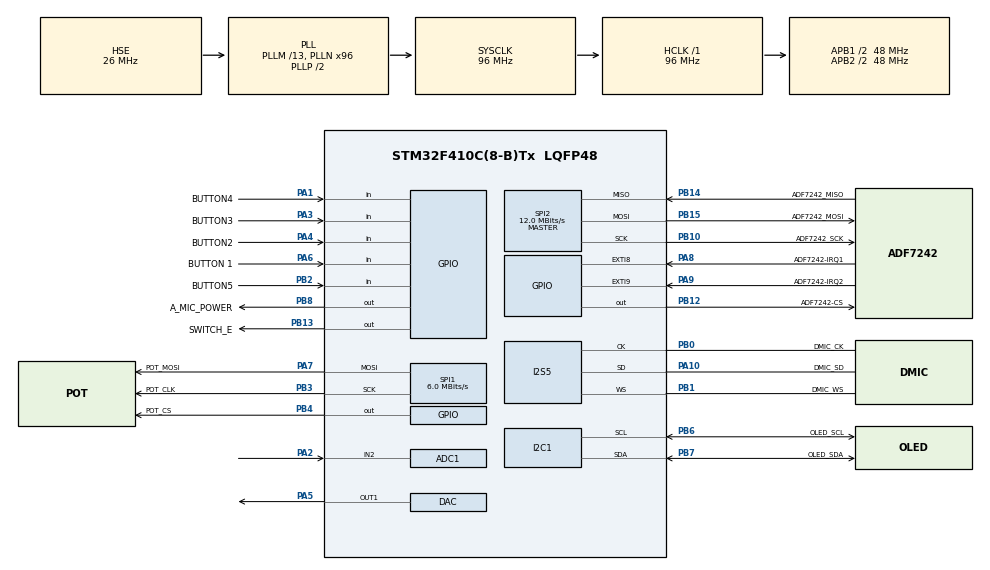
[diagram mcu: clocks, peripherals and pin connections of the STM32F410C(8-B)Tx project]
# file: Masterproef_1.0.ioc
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ADC1.Channel-0\#ChannelRegularConversion=ADC_CHANNEL_2
ADC1.ClockPrescaler=ADC_CLOCK_SYNC_PCLK_DIV2
ADC1.ExternalTrigConv=ADC_EXTERNALTRIGCONV_T5_CC1
ADC1.ExternalTrigConvEdge=ADC_EXTERNALTRIGCONVEDGE_RISING
ADC1.NbrOfConversion=1
ADC1.NbrOfConversionFlag=1
ADC1.Rank-0\#ChannelRegularConversion=1
ADC1.Resolution=ADC_RESOLUTION_8B
ADC1.SamplingTime-0\#ChannelRegularConversion=ADC_SAMPLETIME_3CYCLES
ADC1.master=1
I2S5.ErrorAudioFreq=0.0 %
I2S5.FullDuplexMode=I2S_FULLDUPLEXMODE_DISABLE
I2S5.Instance=SPI$Index
I2S5.RealAudioFreq=8.0 KHz
I2S5.VirtualMode=I2S_MODE_MASTER
Mcu.Family=STM32F4
Mcu.Name=STM32F410C(8-B)Tx
Mcu.Package=LQFP48
NVIC.ADC_IRQn=true\:0\:0\:false\:false\:true\:true\:true
NVIC.PriorityGroup=NVIC_PRIORITYGROUP_4
NVIC.TIM1_UP_IRQn=true\:0\:0\:false\:false\:true\:true\:true
NVIC.TIM5_IRQn=true\:0\:0\:false\:false\:true\:true\:true
PA0-WKUP.Mode=SYS_WakeUp0
PA0-WKUP.Signal=SYS_WKUP1
PA1.GPIO_Label=BUTTON4
PA1.Signal=GPIO_Input
PA10.GPIO_Label=DMIC_SD
PA10.Mode=Half_Duplex_Master
PA10.Signal=I2S5_SD
PA2.Signal=ADCx_IN2
PA3.GPIO_Label=BUTTON3
PA3.Signal=GPIO_Input
PA4.GPIO_Label=BUTTON2
PA4.Signal=GPIO_Input
PA5.Signal=COMP_DAC1_group
PA6.GPIO_Label=BUTTON 1
PA6.Signal=GPIO_Input
PA7.GPIO_Label=POT_MOSI
PA7.Mode=TX_Only_Simplex_Unidirect_Master
PA7.Signal=SPI1_MOSI
PA8.GPIO_Label=ADF7242-IRQ1
PA8.Signal=GPXTI8
PA9.GPIO_Label=ADF7242-IRQ2
PA9.Signal=GPXTI9
PB0.GPIO_Label=DMIC_CK
PB0.Mode=Half_Duplex_Master
PB0.Signal=I2S5_CK
PB1.GPIO_Label=DMIC_WS
PB1.Mode=Half_Duplex_Master
PB1.Signal=I2S5_WS
PB10.GPIO_Label=ADF7242_SCK
PB10.Mode=Full_Duplex_Master
PB10.Signal=SPI2_SCK
PB12.GPIO_Label=ADF7242-CS
PB12.Signal=GPIO_Output
PB13.GPIO_Label=SWITCH_E
PB13.PinState=GPIO_PIN_SET
PB13.Signal=GPIO_Output
PB14.GPIO_Label=ADF7242_MISO
PB14.Mode=Full_Duplex_Master
PB14.Signal=SPI2_MISO
PB15.GPIO_Label=ADF7242_MOSI
PB15.Mode=Full_Duplex_Master
PB15.Signal=SPI2_MOSI
PB2.GPIO_Label=BUTTON5
PB2.Signal=GPIO_Input
PB3.GPIO_Label=POT_CLK
PB3.Mode=TX_Only_Simplex_Unidirect_Master
PB3.Signal=SPI1_SCK
PB4.GPIO_Label=POT_CS
PB4.PinState=GPIO_PIN_SET
PB4.Signal=GPIO_Output
PB6.GPIO_Label=OLED_SCL
PB6.Mode=I2C
PB6.Signal=I2C1_SCL
PB7.GPIO_Label=OLED_SDA
PB7.Mode=I2C
PB7.Signal=I2C1_SDA
PB8.GPIO_Label=A_MIC_POWER
PB8.PinState=GPIO_PIN_SET
PB8.Signal=GPIO_Output
PC14-OSC32_IN.Mode=LSE-External-Oscillator
PC14-OSC32_IN.Signal=RCC_OSC32_IN
PC15-OSC32_OUT.Mode=LSE-External-Oscillator
PC15-OSC32_OUT.Signal=RCC_OSC32_OUT
PH0\ -\ OSC_IN.Mode=HSE-External-Oscillator
PH0\ -\ OSC_IN.Signal=RCC_OSC_IN
PH1\ -\ OSC_OUT.Mode=HSE-External-Oscillator
PH1\ -\ OSC_OUT.Signal=RCC_OSC_OUT
ProjectManager.HeapSize=0x200
ProjectManager.StackSize=0x400
ProjectManager.TargetToolchain=STM32CubeIDE
RCC.48MHZClocksFreq_Value=48000000
RCC.AHBFreq_Value=96000000
RCC.APB1CLKDivider=RCC_HCLK_DIV2
RCC.APB1Freq_Value=48000000
RCC.APB1TimFreq_Value=96000000
RCC.APB2CLKDivider=RCC_HCLK_DIV2
RCC.APB2Freq_Value=48000000
RCC.APB2TimFreq_Value=96000000
RCC.CortexFreq_Value=96000000
RCC.HCLKFreq_Value=96000000
RCC.HSE_VALUE=26000000
RCC.HSI_VALUE=16000000
RCC.PLLM=13
RCC.PLLN=96
RCC.PLLSourceVirtual=RCC_PLLSOURCE_HSE
RCC.SYSCLKFreq_VALUE=96000000
RCC.SYSCLKSource=RCC_SYSCLKSOURCE_PLLCLK
RCC.VCOOutputFreq_Value=192000000
SH.ADCx_IN2.0=ADC1_IN2,IN2
SH.COMP_DAC1_group.0=DAC_OUT1,DAC_OUT1
SPI1.BaudRatePrescaler=SPI_BAUDRATEPRESCALER_8
SPI1.CalculateBaudRate=6.0 MBits/s
SPI1.Direction=SPI_DIRECTION_2LINES
SPI1.Mode=SPI_MODE_MASTER
SPI1.VirtualType=VM_MASTER
SPI2.BaudRatePrescaler=SPI_BAUDRATEPRESCALER_4
SPI2.CalculateBaudRate=12.0 MBits/s
SPI2.Direction=SPI_DIRECTION_2LINES
SPI2.Mode=SPI_MODE_MASTER
SPI2.VirtualType=VM_MASTER
TIM1.Period=12000
TIM1.Prescaler=0
TIM1.TIM_MasterOutputTrigger=TIM_TRGO_UPDATE
TIM5.Channel-Output\ Compare1\ No\ Output=TIM_CHANNEL_1
TIM5.OCMode_1=TIM_OCMODE_TOGGLE
TIM5.Period=3000
TIM5.Prescaler=0
TIM5.Pulse-Output\ Compare1\ No\ Output=3000
TIM5.TIM_MasterOutputTrigger=TIM_TRGO_OC1REF
TIM5.TIM_MasterSlaveMode=TIM_MASTERSLAVEMODE_ENABLE
VP_TIM1_VS_ClockSourceINT.Mode=Internal
VP_TIM5_VS_ClockSourceINT.Mode=Internal
VP_TIM5_VS_no_output1.Mode=Output Compare1 No Output
board=custom

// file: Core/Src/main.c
/* USER CODE BEGIN Header */
/**
  ******************************************************************************
  * @file           : main.c
  * @brief          : Main program body
  ******************************************************************************
  * @attention
  *
  * <h2><center>&copy; Copyright (c) 2019 STMicroelectronics.
  * All rights reserved.</center></h2>
  *
  * This software component is licensed by ST under BSD 3-Clause license,
  * the "License"; You may not use this file except in compliance with the
  * License. You may obtain a copy of the License at:
  *                        opensource.org/licenses/BSD-3-Clause
  *
  ******************************************************************************
  */
/* USER CODE END Header */

#include "main.h"

/* USER CODE BEGIN Includes */
#include "ADF7242.h"
#include "OLED.h"
#include "CBUF.h"
/* USER CODE END Includes */

ADC_HandleTypeDef hadc1;

DAC_HandleTypeDef hdac;

I2C_HandleTypeDef hi2c1;

I2S_HandleTypeDef hi2s5;

SPI_HandleTypeDef hspi1;
SPI_HandleTypeDef hspi2;

TIM_HandleTypeDef htim1;
TIM_HandleTypeDef htim5;

void SystemClock_Config(void);
static void MX_GPIO_Init(void);
static void MX_DAC_Init(void);
static void MX_I2C1_Init(void);
static void MX_I2S5_Init(void);
static void MX_SPI1_Init(void);
static void MX_SPI2_Init(void);
static void MX_ADC1_Init(void);
static void MX_TIM5_Init(void);
static void MX_TIM1_Init(void);
/* USER CODE BEGIN PFP */
void Potmeter_Init(void);
void setup(void);
void Tx_test(void);
void Rx_test(void);
void Send_Data(void);
/* USER CODE END PFP */

/* USER CODE BEGIN 0 */
char settingsMode;

uint8_t settingsDownsampling;
uint8_t potVolume[1];
uint16_t settingsSampleRate;

uint8_t spi1TxBuffer;
uint16_t adcVal;
uint16_t adcValDownSampled;
uint32_t counter = 0;

uint8_t returnValue;

uint8_t value;

uint8_t result;

uint8_t Tx_byteCounter;

// Tx variables
uint32_t Tx_teller = 0;
cbuf_handle_t Tx_buffer_handle_t;
uint8_t TX_BUFFER_BASE;
uint32_t Tx_Pkt_counter = 0;
uint8_t Tx_Pkt_data_length;
uint8_t Tx_byte1;
uint8_t Tx_byte2;
uint8_t Tx_byte3;
uint8_t Tx_byteCounter;
uint16_t Tx_sample1;
uint16_t Tx_sample2;
uint8_t Tx_resolution;
uint32_t Tx_test_teller;

// Rx variables
uint32_t DAC_teller = 0;
uint32_t Rx_teller = 0;
cbuf_handle_t Rx_buffer_handle_t;
uint8_t RX_BUFFER_BASE;
uint8_t Rx_resolution;
uint32_t Rx_Pkt_counter = 0;
uint8_t Rx_Pkt_length;
uint8_t Rx_byte1;
uint8_t Rx_byte2;
uint8_t Rx_byte3;
uint8_t Rx_byteCounter;
uint16_t Rx_sample1;
uint16_t Rx_sample2;
uint8_t Rx_RSSI;
uint8_t Rx_SQI;
uint8_t Rx_play;
uint32_t test;

/* USER CODE END 0 */

int main(void)
{

  /* MCU Configuration--------------------------------------------------------*/

  /* Reset of all peripherals, Initializes the Flash interface and the Systick. */
  HAL_Init();

  /* Configure the system clock */
  SystemClock_Config();

  /* Initialize all configured peripherals */
  MX_GPIO_Init();
  MX_DAC_Init();
  MX_I2C1_Init();
  MX_I2S5_Init();
  MX_SPI1_Init();
  MX_SPI2_Init();
  MX_ADC1_Init();
  MX_TIM5_Init();
  MX_TIM1_Init();
  /* USER CODE BEGIN 2 */
  /* Settings */
  settingsMode = 'R';

  settingsDownsampling = 1;								// 0 = No Downsampling to 8k and 1 = Downsampling to 8k
  settingsSampleRate = 16000;							// Sample rate
  potVolume[0] = 25;									// Audio volume
  Tx_Pkt_data_length = 120;								// Bij 12-bit resolutie veelvoud van 3!
  Tx_resolution = 8;

  ADF_Init();
  setup();

  /* USER CODE END 2 */

  /* Infinite loop */
  /* USER CODE BEGIN WHILE */
  while (1)
  {
	if (settingsMode == 'R')
	{
		if (ADF_Rx_flag_set())
		{
			Rx_Pkt_counter++;
			ADF_SPI_RD_Rx_Buffer();
			ADF_clear_Rx_flag();
			ADF_Rx_mode();
		}
	}
    /* USER CODE END WHILE */

  }
}

void SystemClock_Config(void)
{
  RCC_OscInitTypeDef RCC_OscInitStruct = {0};
  RCC_ClkInitTypeDef RCC_ClkInitStruct = {0};
  RCC_PeriphCLKInitTypeDef PeriphClkInitStruct = {0};

  /** Configure the main internal regulator output voltage
  */
  __HAL_RCC_PWR_CLK_ENABLE();
  __HAL_PWR_VOLTAGESCALING_CONFIG(PWR_REGULATOR_VOLTAGE_SCALE1);
  /** Initializes the CPU, AHB and APB busses clocks
  */
  RCC_OscInitStruct.OscillatorType = RCC_OSCILLATORTYPE_HSE;
  RCC_OscInitStruct.HSEState = RCC_HSE_ON;
  RCC_OscInitStruct.PLL.PLLState = RCC_PLL_ON;
  RCC_OscInitStruct.PLL.PLLSource = RCC_PLLSOURCE_HSE;
  RCC_OscInitStruct.PLL.PLLM = 13;
  RCC_OscInitStruct.PLL.PLLN = 96;
  RCC_OscInitStruct.PLL.PLLP = RCC_PLLP_DIV2;
  RCC_OscInitStruct.PLL.PLLQ = 4;
  RCC_OscInitStruct.PLL.PLLR = 2;
  if (HAL_RCC_OscConfig(&RCC_OscInitStruct) != HAL_OK)
  {
    Error_Handler();
  }
  /** Initializes the CPU, AHB and APB busses clocks
  */
  RCC_ClkInitStruct.ClockType = RCC_CLOCKTYPE_HCLK|RCC_CLOCKTYPE_SYSCLK
                              |RCC_CLOCKTYPE_PCLK1|RCC_CLOCKTYPE_PCLK2;
  RCC_ClkInitStruct.SYSCLKSource = RCC_SYSCLKSOURCE_PLLCLK;
  RCC_ClkInitStruct.AHBCLKDivider = RCC_SYSCLK_DIV1;
  RCC_ClkInitStruct.APB1CLKDivider = RCC_HCLK_DIV2;
  RCC_ClkInitStruct.APB2CLKDivider = RCC_HCLK_DIV2;

  if (HAL_RCC_ClockConfig(&RCC_ClkInitStruct, FLASH_LATENCY_3) != HAL_OK)
  {
    Error_Handler();
  }
  PeriphClkInitStruct.PeriphClockSelection = RCC_PERIPHCLK_I2S;
  PeriphClkInitStruct.I2SClockSelection = RCC_I2SAPBCLKSOURCE_PLLR;
  if (HAL_RCCEx_PeriphCLKConfig(&PeriphClkInitStruct) != HAL_OK)
  {
    Error_Handler();
  }
}

static void MX_ADC1_Init(void)
{

  ADC_ChannelConfTypeDef sConfig = {0};

  /** Configure the global features of the ADC (Clock, Resolution, Data Alignment and number of conversion)
  */
  hadc1.Instance = ADC1;
  hadc1.Init.ClockPrescaler = ADC_CLOCK_SYNC_PCLK_DIV2;
  hadc1.Init.Resolution = ADC_RESOLUTION_8B;
  hadc1.Init.ScanConvMode = DISABLE;
  hadc1.Init.ContinuousConvMode = DISABLE;
  hadc1.Init.DiscontinuousConvMode = DISABLE;
  hadc1.Init.ExternalTrigConvEdge = ADC_EXTERNALTRIGCONVEDGE_RISING;
  hadc1.Init.ExternalTrigConv = ADC_EXTERNALTRIGCONV_T5_CC1;
  hadc1.Init.DataAlign = ADC_DATAALIGN_RIGHT;
  hadc1.Init.NbrOfConversion = 1;
  hadc1.Init.DMAContinuousRequests = DISABLE;
  hadc1.Init.EOCSelection = ADC_EOC_SINGLE_CONV;
  if (HAL_ADC_Init(&hadc1) != HAL_OK)
  {
    Error_Handler();
  }
  /** Configure for the selected ADC regular channel its corresponding rank in the sequencer and its sample time.
  */
  sConfig.Channel = ADC_CHANNEL_2;
  sConfig.Rank = 1;
  sConfig.SamplingTime = ADC_SAMPLETIME_3CYCLES;
  if (HAL_ADC_ConfigChannel(&hadc1, &sConfig) != HAL_OK)
  {
    Error_Handler();
  }

}

static void MX_DAC_Init(void)
{

  DAC_ChannelConfTypeDef sConfig = {0};

  /** DAC Initialization
  */
  hdac.Instance = DAC;
  if (HAL_DAC_Init(&hdac) != HAL_OK)
  {
    Error_Handler();
  }
  /** DAC channel OUT1 config
  */
  sConfig.DAC_Trigger = DAC_TRIGGER_NONE;
  sConfig.DAC_OutputBuffer = DAC_OUTPUTBUFFER_ENABLE;
  if (HAL_DAC_ConfigChannel(&hdac, &sConfig, DAC_CHANNEL_1) != HAL_OK)
  {
    Error_Handler();
  }

}

static void MX_I2C1_Init(void)
{

  hi2c1.Instance = I2C1;
  hi2c1.Init.ClockSpeed = 100000;
  hi2c1.Init.DutyCycle = I2C_DUTYCYCLE_2;
  hi2c1.Init.OwnAddress1 = 0;
  hi2c1.Init.AddressingMode = I2C_ADDRESSINGMODE_7BIT;
  hi2c1.Init.DualAddressMode = I2C_DUALADDRESS_DISABLE;
  hi2c1.Init.OwnAddress2 = 0;
  hi2c1.Init.GeneralCallMode = I2C_GENERALCALL_DISABLE;
  hi2c1.Init.NoStretchMode = I2C_NOSTRETCH_DISABLE;
  if (HAL_I2C_Init(&hi2c1) != HAL_OK)
  {
    Error_Handler();
  }

}

static void MX_I2S5_Init(void)
{

  hi2s5.Instance = SPI5;
  hi2s5.Init.Mode = I2S_MODE_MASTER_TX;
  hi2s5.Init.Standard = I2S_STANDARD_PHILIPS;
  hi2s5.Init.DataFormat = I2S_DATAFORMAT_16B;
  hi2s5.Init.MCLKOutput = I2S_MCLKOUTPUT_DISABLE;
  hi2s5.Init.AudioFreq = I2S_AUDIOFREQ_8K;
  hi2s5.Init.CPOL = I2S_CPOL_LOW;
  hi2s5.Init.ClockSource = I2S_CLOCK_PLLR;
  hi2s5.Init.FullDuplexMode = I2S_FULLDUPLEXMODE_DISABLE;
  if (HAL_I2S_Init(&hi2s5) != HAL_OK)
  {
    Error_Handler();
  }

}

static void MX_SPI1_Init(void)
{

  /* SPI1 parameter configuration*/
  hspi1.Instance = SPI1;
  hspi1.Init.Mode = SPI_MODE_MASTER;
  hspi1.Init.Direction = SPI_DIRECTION_2LINES;
  hspi1.Init.DataSize = SPI_DATASIZE_8BIT;
  hspi1.Init.CLKPolarity = SPI_POLARITY_LOW;
  hspi1.Init.CLKPhase = SPI_PHASE_1EDGE;
  hspi1.Init.NSS = SPI_NSS_SOFT;
  hspi1.Init.BaudRatePrescaler = SPI_BAUDRATEPRESCALER_8;
  hspi1.Init.FirstBit = SPI_FIRSTBIT_MSB;
  hspi1.Init.TIMode = SPI_TIMODE_DISABLE;
  hspi1.Init.CRCCalculation = SPI_CRCCALCULATION_DISABLE;
  hspi1.Init.CRCPolynomial = 15;
  if (HAL_SPI_Init(&hspi1) != HAL_OK)
  {
    Error_Handler();
  }

}

static void MX_SPI2_Init(void)
{

  /* SPI2 parameter configuration*/
  hspi2.Instance = SPI2;
  hspi2.Init.Mode = SPI_MODE_MASTER;
  hspi2.Init.Direction = SPI_DIRECTION_2LINES;
  hspi2.Init.DataSize = SPI_DATASIZE_8BIT;
  hspi2.Init.CLKPolarity = SPI_POLARITY_LOW;
  hspi2.Init.CLKPhase = SPI_PHASE_1EDGE;
  hspi2.Init.NSS = SPI_NSS_SOFT;
  hspi2.Init.BaudRatePrescaler = SPI_BAUDRATEPRESCALER_4;
  hspi2.Init.FirstBit = SPI_FIRSTBIT_MSB;
  hspi2.Init.TIMode = SPI_TIMODE_DISABLE;
  hspi2.Init.CRCCalculation = SPI_CRCCALCULATION_DISABLE;
  hspi2.Init.CRCPolynomial = 15;
  if (HAL_SPI_Init(&hspi2) != HAL_OK)
  {
    Error_Handler();
  }

}

static void MX_TIM1_Init(void)
{

  TIM_ClockConfigTypeDef sClockSourceConfig = {0};
  TIM_MasterConfigTypeDef sMasterConfig = {0};

  htim1.Instance = TIM1;
  htim1.Init.Prescaler = 0;
  htim1.Init.CounterMode = TIM_COUNTERMODE_UP;
  htim1.Init.Period = 12000;
  htim1.Init.ClockDivision = TIM_CLOCKDIVISION_DIV1;
  htim1.Init.RepetitionCounter = 0;
  htim1.Init.AutoReloadPreload = TIM_AUTORELOAD_PRELOAD_DISABLE;
  if (HAL_TIM_Base_Init(&htim1) != HAL_OK)
  {
    Error_Handler();
  }
  sClockSourceConfig.ClockSource = TIM_CLOCKSOURCE_INTERNAL;
  if (HAL_TIM_ConfigClockSource(&htim1, &sClockSourceConfig) != HAL_OK)
  {
    Error_Handler();
  }
  sMasterConfig.MasterOutputTrigger = TIM_TRGO_UPDATE;
  sMasterConfig.MasterSlaveMode = TIM_MASTERSLAVEMODE_DISABLE;
  if (HAL_TIMEx_MasterConfigSynchronization(&htim1, &sMasterConfig) != HAL_OK)
  {
    Error_Handler();
  }

}

static void MX_TIM5_Init(void)
{

  TIM_ClockConfigTypeDef sClockSourceConfig = {0};
  TIM_MasterConfigTypeDef sMasterConfig = {0};
  TIM_OC_InitTypeDef sConfigOC = {0};

  htim5.Instance = TIM5;
  htim5.Init.Prescaler = 0;
  htim5.Init.CounterMode = TIM_COUNTERMODE_UP;
  htim5.Init.Period = 3000;
  htim5.Init.ClockDivision = TIM_CLOCKDIVISION_DIV1;
  htim5.Init.AutoReloadPreload = TIM_AUTORELOAD_PRELOAD_DISABLE;
  if (HAL_TIM_Base_Init(&htim5) != HAL_OK)
  {
    Error_Handler();
  }
  sClockSourceConfig.ClockSource = TIM_CLOCKSOURCE_INTERNAL;
  if (HAL_TIM_ConfigClockSource(&htim5, &sClockSourceConfig) != HAL_OK)
  {
    Error_Handler();
  }
  if (HAL_TIM_OC_Init(&htim5) != HAL_OK)
  {
    Error_Handler();
  }
  sMasterConfig.MasterOutputTrigger = TIM_TRGO_OC1REF;
  sMasterConfig.MasterSlaveMode = TIM_MASTERSLAVEMODE_ENABLE;
  if (HAL_TIMEx_MasterConfigSynchronization(&htim5, &sMasterConfig) != HAL_OK)
  {
    Error_Handler();
  }
  sConfigOC.OCMode = TIM_OCMODE_TOGGLE;
  sConfigOC.Pulse = 3000;
  sConfigOC.OCPolarity = TIM_OCPOLARITY_HIGH;
  sConfigOC.OCFastMode = TIM_OCFAST_DISABLE;
  if (HAL_TIM_OC_ConfigChannel(&htim5, &sConfigOC, TIM_CHANNEL_1) != HAL_OK)
  {
    Error_Handler();
  }

}

static void MX_GPIO_Init(void)
{
  GPIO_InitTypeDef GPIO_InitStruct = {0};

  /* GPIO Ports Clock Enable */
  __HAL_RCC_GPIOC_CLK_ENABLE();
  __HAL_RCC_GPIOH_CLK_ENABLE();
  __HAL_RCC_GPIOA_CLK_ENABLE();
  __HAL_RCC_GPIOB_CLK_ENABLE();

  /*Configure GPIO pin Output Level */
  HAL_GPIO_WritePin(ADF7242_CS_GPIO_Port, ADF7242_CS_Pin, GPIO_PIN_RESET);

  /*Configure GPIO pin Output Level */
  HAL_GPIO_WritePin(GPIOB, SWITCH_E_Pin|POT_CS_Pin|A_MIC_POWER_Pin, GPIO_PIN_SET);

  /*Configure GPIO pins : BUTTON4_Pin BUTTON3_Pin BUTTON2_Pin BUTTON_1_Pin */
  GPIO_InitStruct.Pin = BUTTON4_Pin|BUTTON3_Pin|BUTTON2_Pin|BUTTON_1_Pin;
  GPIO_InitStruct.Mode = GPIO_MODE_INPUT;
  GPIO_InitStruct.Pull = GPIO_NOPULL;
  HAL_GPIO_Init(GPIOA, &GPIO_InitStruct);

  /*Configure GPIO pin : BUTTON5_Pin */
  GPIO_InitStruct.Pin = BUTTON5_Pin;
  GPIO_InitStruct.Mode = GPIO_MODE_INPUT;
  GPIO_InitStruct.Pull = GPIO_NOPULL;
  HAL_GPIO_Init(BUTTON5_GPIO_Port, &GPIO_InitStruct);

  /*Configure GPIO pins : ADF7242_CS_Pin SWITCH_E_Pin POT_CS_Pin A_MIC_POWER_Pin */
  GPIO_InitStruct.Pin = ADF7242_CS_Pin|SWITCH_E_Pin|POT_CS_Pin|A_MIC_POWER_Pin;
  GPIO_InitStruct.Mode = GPIO_MODE_OUTPUT_PP;
  GPIO_InitStruct.Pull = GPIO_NOPULL;
  GPIO_InitStruct.Speed = GPIO_SPEED_FREQ_LOW;
  HAL_GPIO_Init(GPIOB, &GPIO_InitStruct);

  /*Configure GPIO pins : ADF7242_IRQ1_Pin ADF7242_IRQ2_Pin */
  GPIO_InitStruct.Pin = ADF7242_IRQ1_Pin|ADF7242_IRQ2_Pin;
  GPIO_InitStruct.Mode = GPIO_MODE_IT_RISING;
  GPIO_InitStruct.Pull = GPIO_NOPULL;
  HAL_GPIO_Init(GPIOA, &GPIO_InitStruct);

}

/* USER CODE BEGIN 4 */
void setup(void)
{
	OLED_init();
	OLED_print_text("Jelle's Walkie", 10, 30);
	OLED_update();

	HAL_Delay(2000);

	OLED_clear_screen();

	switch(settingsMode)
	{
		case 'I':
			OLED_print_text("Walkie in Idle mode", 0, 0);

			break;

		case 'T':
			OLED_print_text("Walkie in Tx mode", 0, 0);

			/* Buffer Settings for Tx mode */
			uint16_t Tx_buffer_size = 512;
			uint16_t *Tx_buffer = malloc(Tx_buffer_size * sizeof(uint16_t));					// Tx_buffer with size of 512 bytes (32 ms)
			Tx_buffer_handle_t = circular_buf_init(Tx_buffer, Tx_buffer_size);					// Tx buffer handle type

			/* OLED debug */
			OLED_print_variable("Sample rate:", settingsSampleRate, 0, 10);
			OLED_print_variable("Cbuf size:", Tx_buffer_size, 0, 20);
			OLED_print_variable("Tx buf base:", TX_BUFFER_BASE, 0, 30);
			uint32_t frequency = ADF7242_RD_Frequency_MHz();
			OLED_print_variable("Freq (MHz):", frequency, 0, 40);
			OLED_print_variable("Downsampling:", settingsDownsampling, 0, 50);
			OLED_update();

			/* HAL Settings for Tx mode */
			HAL_TIM_OC_Start(&htim5, TIM_CHANNEL_1);											// Start timer 5 (frequency = 16 kHz)
			HAL_ADC_Start_IT(&hadc1);															// Start ADC interrupt triggered by timer 5
			HAL_TIM_Base_Start_IT(&htim1);														// Start timer 1 (frequency = 8 kHz)
			HAL_GPIO_WritePin(GPIOB, SWITCH_E_Pin, GPIO_PIN_RESET);								// Shutdown LM386 to prevent power consumption

			break;

		case 'R':
			OLED_print_text("Walkie in Rx mode", 0, 0);

			/* Buffer Settings for Rx mode */
			uint16_t Rx_buffer_size = 512;
			uint16_t *Rx_buffer = malloc(Rx_buffer_size * sizeof(uint16_t));					// Rx_buffer with size of 512 bytes (32 ms)
			Rx_buffer_handle_t = circular_buf_init(Rx_buffer, Rx_buffer_size);					// Rx buffer handle type

			/* OLED debug */
			OLED_print_variable("POT volume:", potVolume[0], 0, 10);

			/* HAL Settings for Rx mode */
			Potmeter_Init();																	// Setting the volume with the potentiometer
			HAL_DAC_Start(&hdac, DAC_CHANNEL_1);												// Start the DAC interface
			HAL_GPIO_WritePin(GPIOB, A_MIC_POWER_Pin, GPIO_PIN_RESET);							// Shutdown the analog microphone to prevent power consumption

			/* Rx mode */
			ADF_Rx_mode();																		// Rx mode

			/* OLED debug */
			uint8_t status;
			status = ADF_SPI_SEND_BYTE(0xff);
			OLED_print_variable("Status:", status, 0, 20);
			OLED_update();

			HAL_TIM_Base_Start_IT(&htim1);														// Start timer 1 (frequency = 8 kHz)

			break;
	}
}

void Potmeter_Init(void)
{
  HAL_GPIO_WritePin(GPIOB, POT_CS_Pin, GPIO_PIN_RESET);
  HAL_SPI_Transmit(&hspi1, potVolume, 1, 50);
  HAL_GPIO_WritePin(GPIOB, POT_CS_Pin, GPIO_PIN_SET);
}

void HAL_ADC_ConvCpltCallback(ADC_HandleTypeDef* hadc)
{
	if (settingsDownsampling)
	{
		if (counter%2)
		{
			adcVal = HAL_ADC_GetValue(&hadc1);
			counter++;
		}
		else
		{
			adcValDownSampled = HAL_ADC_GetValue(&hadc1);
			adcValDownSampled += adcVal;
			adcValDownSampled /= 2;
			circular_buf_put_overwrite(Tx_buffer_handle_t, adcValDownSampled);
			counter++;
		}
	}
	else
	{
		adcVal = HAL_ADC_GetValue(&hadc1);
		circular_buf_put_overwrite(Tx_buffer_handle_t, adcVal);
		counter++;
	}
}

void Send_Data(void)
{
//	if (counter%100 == 0)
//	{
//		// Write Header byte with the length of the packet (1 + 100 + 2)
//		uint8_t packet_length = 103;
//		ADF_SPI_MEM_WR(TX_BUFFER_BASE, packet_length);
//
//		// Write 103 bytes of Tx_buffer to ADF7242
//		for (uint8_t i=1; i<101; i++)
//		{
//		  uint8_t sampleByte;
//		  int8_t result = circular_buf_get(Tx_buffer_handle_t, &sampleByte);
//		  ADF_SPI_MEM_WR(TX_BUFFER_BASE + i, sampleByte);
//		}
//
//		ADF_Tx_mode();

//		//Read Tx buffer to check
//		uint8_t byte1 = ADF_SPI_MEM_RD(TX_BUFFER_BASE);
//		uint8_t byte2 = ADF_SPI_MEM_RD(1);
//		uint8_t byte250 = ADF_SPI_MEM_RD(249);
//		uint8_t byte251 = ADF_SPI_MEM_RD(250);
//
//		// OLED debug
//		OLED_clear_screen();
//		OLED_print_text("Tx buffer values:", 0, 0);
//		OLED_print_variable("Byte 1:", byte1, 0, 10);
//		OLED_print_variable("Byte 2:", byte2, 0, 20);
//		OLED_print_variable("Byte 250:", byte250, 0, 30);
//		OLED_print_variable("Byte 251:", byte251, 0, 40);
//		OLED_update();
//
//		HAL_Delay(3000);
//	}
}

void Tx_test(void)
{
	//Clear interrupt flag tx_pkt_sent
//	ADF_SPI_MEM_WR(0x3cc, 0x10);

	//ADF write to Tx Buffer
	uint8_t TxBuffer1 = ADF_WR_Tx_Buffer(0, 0x06);
	uint8_t TxBuffer2 = ADF_WR_Tx_Buffer(1, 0x12);
	uint8_t TxBuffer3 = ADF_WR_Tx_Buffer(2, 0x34);
	uint8_t TxBuffer4 = ADF_WR_Tx_Buffer(3, 0x56);

	SSD1306_Fill(SSD1306_COLOR_BLACK);

	OLED_print_text("Transmitting...", 0, 0);

	OLED_print_variable("Tx Buf len:", TxBuffer1, 0, 10);

	uint32_t frequency = ADF_SPI_MEM_RD(0x302);
	frequency = (frequency<<8) | ADF_SPI_MEM_RD(0x301);
	frequency = (frequency<<8) | ADF_SPI_MEM_RD(0x300);

	frequency /= 100;
	OLED_print_variable("Freq (MHz):", frequency, 0, 20);

	uint8_t status;
	status = ADF_SPI_SEND_BYTE(0xff);
	OLED_print_variable("Status before:", status, 0, 30);

	ADF_Tx_TEST();

	status = ADF_SPI_SEND_BYTE(0xff);
	OLED_print_variable("Status after:", status, 0, 40);

	SSD1306_UpdateScreen();

	HAL_Delay(500);
}

void Rx_test(void)
{
	//Clear interrupt flag rx_pkt_rcvd
//	ADF_SPI_MEM_WR(0x3cc, 0x08);

	ADF_Rx_TEST();

	SSD1306_Fill(SSD1306_COLOR_BLACK);

	OLED_print_text("Receiving...", 0, 0);

	uint8_t status;
	status = ADF_SPI_SEND_BYTE(0xff);
	OLED_print_variable("Status:", status, 0, 10);

	if (ADF7242_Rx_pkt_rcv())
	{
		OLED_print_variable("pkt length:", ADF_SPI_MEM_RD(0), 0, 20);

		OLED_print_variable("Nr 1:", ADF_SPI_MEM_RD(1), 0, 30);
		OLED_print_variable("Nr 2:", ADF_SPI_MEM_RD(2), 64, 30);
		OLED_print_variable("Nr 3:", ADF_SPI_MEM_RD(3), 0, 40);
		OLED_print_variable("Nr 4:", (int8_t) ADF_SPI_MEM_RD(4), 64, 40);
		OLED_print_variable("Nr 5:", ADF_SPI_MEM_RD(5), 0, 50);
	}

	SSD1306_UpdateScreen();

	HAL_Delay(500);
}

void HAL_TIM_PeriodElapsedCallback(TIM_HandleTypeDef *htim)
{
	if (htim->Instance == TIM1)
	{
		if (settingsMode == 'T')
		{
			Tx_test_teller++;
			if (Tx_teller == Tx_Pkt_data_length + 2)
			{
				ADF_Tx_mode();
				Tx_Pkt_counter++;
				Tx_teller = 0;
			}

			if (Tx_teller == 0)
			{
				//Write Header byte with the length of the packet (1 + 1 + lengte + 2)
				uint8_t packet_length = Tx_Pkt_data_length + 4;
				ADF_SPI_MEM_WR(TX_BUFFER_BASE, packet_length);
				Tx_teller++;
				ADF_SPI_MEM_WR(TX_BUFFER_BASE + Tx_teller, Tx_resolution);
				Tx_teller++;

				Tx_byteCounter = 0;
			}

			uint16_t size = circular_buf_size(Tx_buffer_handle_t);
			if (size != 0)
			{
				if (Tx_resolution == 8)
				{
					result = circular_buf_get(Tx_buffer_handle_t, &Tx_sample1);
					ADF_SPI_MEM_WR(TX_BUFFER_BASE + Tx_teller, Tx_sample1);
					Tx_teller++;
				}
				else if (Tx_resolution == 12)
				{
					if (Tx_byteCounter == 0)
					{
						result = circular_buf_get(Tx_buffer_handle_t, &Tx_sample1);
						Tx_byte1 = Tx_sample1&0x0ff;
						ADF_SPI_MEM_WR(TX_BUFFER_BASE + Tx_teller, Tx_byte1);
						Tx_teller++;
					}
					else if (Tx_byteCounter == 1)
					{
						result = circular_buf_get(Tx_buffer_handle_t, &Tx_sample2);
						Tx_byte2 = (Tx_sample1>>4)&0x0f0;
						Tx_byte2 = Tx_byte2|(Tx_sample2&0x00f);
						ADF_SPI_MEM_WR(TX_BUFFER_BASE + Tx_teller, Tx_byte2);
						Tx_teller++;
					}
					else if (Tx_byteCounter == 2)
					{
						Tx_byte3 = (Tx_sample2>>4)&0xff;
						ADF_SPI_MEM_WR(TX_BUFFER_BASE + Tx_teller, Tx_byte3);
						Tx_teller++;
						Tx_byteCounter = -1;
					}
					Tx_byteCounter++;
				}
			}
		}
		else if (settingsMode == 'R')
		{
			test++;
			uint16_t size = circular_buf_size(Rx_buffer_handle_t);
			if (size != 0)
			{
				if (Rx_resolution == 12)
				{
					uint16_t sample;
					int8_t result = circular_buf_get(Rx_buffer_handle_t, &sample);
					HAL_DAC_SetValue(&hdac, DAC_CHANNEL_1, DAC_ALIGN_12B_R, sample);
				}
				else if (Rx_resolution == 8)
				{
					uint8_t sample;
					int8_t result = circular_buf_get(Rx_buffer_handle_t, &sample);
					HAL_DAC_SetValue(&hdac, DAC_CHANNEL_1, DAC_ALIGN_8B_R, sample);
				}
				DAC_teller++;
			}
		}
	}
}
/* USER CODE END 4 */

void Error_Handler(void)
{
}

/************************ (C) COPYRIGHT STMicroelectronics *****END OF FILE****/
